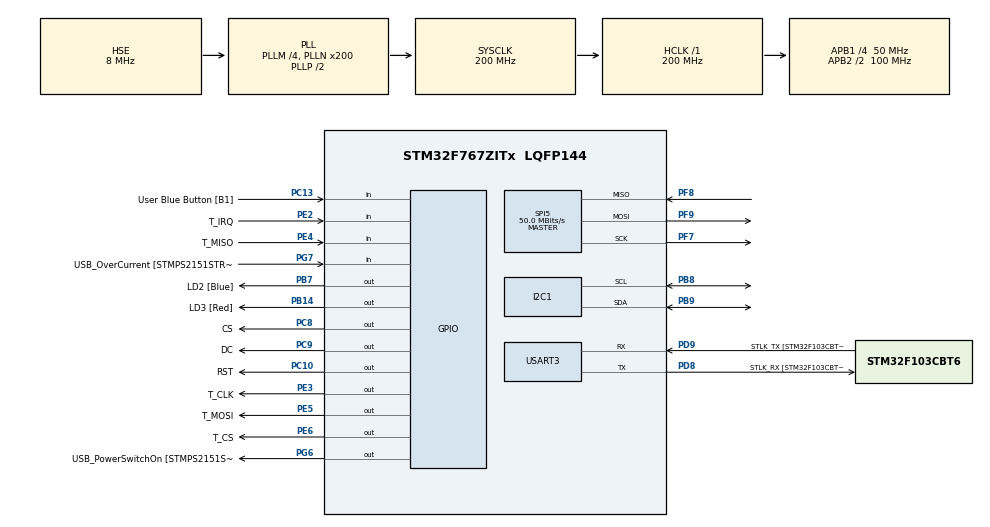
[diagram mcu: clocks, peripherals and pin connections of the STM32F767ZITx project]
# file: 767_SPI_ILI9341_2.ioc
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CORTEX_M7.ART_ACCLERATOR_ENABLE=1
CORTEX_M7.CPU_DCache=Enabled
CORTEX_M7.CPU_ICache=Enabled
CORTEX_M7.PREFETCH_ENABLE=1
I2C1.Timing=0x00C0EAFF
Mcu.Family=STM32F7
Mcu.Name=STM32F767ZITx
Mcu.Package=LQFP144
NVIC.PriorityGroup=NVIC_PRIORITYGROUP_4
PA1.GPIO_Label=RMII_REF_CLK [LAN8742A-CZ-TR_REFCLK0]
PA1.Signal=ETH_REF_CLK
PA13.GPIO_Label=TMS
PA13.Mode=Serial_Wire
PA13.Signal=SYS_JTMS-SWDIO
PA14.GPIO_Label=TCK
PA14.Mode=Serial_Wire
PA14.Signal=SYS_JTCK-SWCLK
PA2.GPIO_Label=RMII_MDIO [LAN8742A-CZ-TR_MDIO]
PA2.Signal=ETH_MDIO
PA7.GPIO_Label=RMII_CRS_DV [LAN8742A-CZ-TR_CRS_DV]
PA7.Signal=ETH_CRS_DV
PB13.GPIO_Label=RMII_TXD1 [LAN8742A-CZ-TR_TXD1]
PB13.Signal=ETH_TXD1
PB14.GPIO_Label=LD3 [Red]
PB14.Signal=GPIO_Output
PB3.GPIO_Label=SWO
PB3.Signal=SYS_JTDO-SWO
PB7.GPIO_Label=LD2 [Blue]
PB7.Signal=GPIO_Output
PB8.Mode=I2C
PB8.Signal=I2C1_SCL
PB9.Mode=I2C
PB9.Signal=I2C1_SDA
PC1.GPIO_Label=RMII_MDC [LAN8742A-CZ-TR_MDC]
PC1.Signal=ETH_MDC
PC10.GPIO_Label=RST
PC10.GPIO_Speed=GPIO_SPEED_FREQ_VERY_HIGH
PC10.Signal=GPIO_Output
PC13.GPIO_Label=User Blue Button [B1]
PC13.Signal=GPIO_Input
PC14/OSC32_IN.Mode=LSE-External-Oscillator
PC14/OSC32_IN.Signal=RCC_OSC32_IN
PC15/OSC32_OUT.Mode=LSE-External-Oscillator
PC15/OSC32_OUT.Signal=RCC_OSC32_OUT
PC4.GPIO_Label=RMII_RXD0 [LAN8742A-CZ-TR_RXD0]
PC4.Signal=ETH_RXD0
PC5.GPIO_Label=RMII_RXD1 [LAN8742A-CZ-TR_RXD1]
PC5.Signal=ETH_RXD1
PC8.GPIO_Label=CS
PC8.GPIO_Speed=GPIO_SPEED_FREQ_VERY_HIGH
PC8.Signal=GPIO_Output
PC9.GPIO_Label=DC
PC9.GPIO_Speed=GPIO_SPEED_FREQ_VERY_HIGH
PC9.Signal=GPIO_Output
PD8.GPIO_Label=STLK_RX [STM32F103CBT6_PA3]
PD8.Mode=Asynchronous
PD8.Signal=USART3_TX
PD9.GPIO_Label=STLK_TX [STM32F103CBT6_PA2]
PD9.Mode=Asynchronous
PD9.Signal=USART3_RX
PE2.GPIO_Label=T_IRQ
PE2.Signal=GPIO_Input
PE3.GPIO_Label=T_CLK
PE3.GPIO_Speed=GPIO_SPEED_FREQ_VERY_HIGH
PE3.Signal=GPIO_Output
PE4.GPIO_Label=T_MISO
PE4.Signal=GPIO_Input
PE5.GPIO_Label=T_MOSI
PE5.GPIO_Speed=GPIO_SPEED_FREQ_VERY_HIGH
PE5.Signal=GPIO_Output
PE6.GPIO_Label=T_CS
PE6.GPIO_Speed=GPIO_SPEED_FREQ_VERY_HIGH
PE6.Signal=GPIO_Output
PF7.Mode=Full_Duplex_Master
PF7.Signal=SPI5_SCK
PF8.Mode=Full_Duplex_Master
PF8.Signal=SPI5_MISO
PF9.Mode=Full_Duplex_Master
PF9.Signal=SPI5_MOSI
PG11.GPIO_Label=RMII_TX_EN [LAN8742A-CZ-TR_TXEN]
PG11.Signal=ETH_TX_EN
PG13.GPIO_Label=RMII_TXD0 [LAN8742A-CZ-TR_TXD0]
PG13.Signal=ETH_TXD0
PG6.GPIO_Label=USB_PowerSwitchOn [STMPS2151STR_EN]
PG6.Signal=GPIO_Output
PG7.GPIO_Label=USB_OverCurrent [STMPS2151STR_FAULT]
PG7.Signal=GPIO_Input
PH0/OSC_IN.GPIO_Label=MCO [STM32F103CBT6_PA8]
PH0/OSC_IN.Mode=HSE-External-Clock-Source
PH0/OSC_IN.Signal=RCC_OSC_IN
PH1/OSC_OUT.Mode=HSE-External-Clock-Source
PH1/OSC_OUT.Signal=RCC_OSC_OUT
ProjectManager.HeapSize=0x200
ProjectManager.StackSize=0x400
ProjectManager.TargetToolchain=STM32CubeIDE
RCC.48MHZClocksFreq_Value=24000000
RCC.AHBFreq_Value=200000000
RCC.APB1CLKDivider=RCC_HCLK_DIV4
RCC.APB1Freq_Value=50000000
RCC.APB1TimFreq_Value=100000000
RCC.APB2CLKDivider=RCC_HCLK_DIV2
RCC.APB2Freq_Value=100000000
RCC.APB2TimFreq_Value=200000000
RCC.CortexFreq_Value=200000000
RCC.HCLKFreq_Value=200000000
RCC.HSE_VALUE=8000000
RCC.HSI_VALUE=16000000
RCC.PLLM=4
RCC.PLLMUL=RCC_PLL_MUL9
RCC.PLLN=200
RCC.PLLQ=9
RCC.PLLSourceVirtual=RCC_PLLSOURCE_HSE
RCC.PRESCALERUSB=RCC_USBCLKSOURCE_PLL_DIV1_5
RCC.SYSCLKFreq_VALUE=200000000
RCC.SYSCLKSource=RCC_SYSCLKSOURCE_PLLCLK
RCC.SYSCLKSourceVirtual=RCC_SYSCLKSOURCE_PLLCLK
RCC.USBFreq_Value=44444444.44444445
RCC.VCOOutputFreq_Value=400000000
SPI5.CalculateBaudRate=50.0 MBits/s
SPI5.DataSize=SPI_DATASIZE_8BIT
SPI5.Direction=SPI_DIRECTION_2LINES
SPI5.Mode=SPI_MODE_MASTER
SPI5.NSSPMode=SPI_NSS_PULSE_DISABLE
SPI5.VirtualType=VM_MASTER
TIM1.ClockDivision=TIM_CLOCKDIVISION_DIV1
TIM1.Period=65536-1
TIM1.Prescaler=20000-1
USART3.VirtualMode-Asynchronous=VM_ASYNC
VP_RNG_VS_RNG.Mode=RNG_Activate
VP_TIM1_VS_ClockSourceINT.Mode=Internal
board=NUCLEO-F767ZI

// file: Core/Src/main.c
/* USER CODE BEGIN Header */
/**
 ******************************************************************************
 * @file           : main.c
 * @brief          : Main program body
 ******************************************************************************
 * @attention
 *
 * <h2><center>&copy; Copyright (c) 2021 STMicroelectronics.
 * All rights reserved.</center></h2>
 *
 * This software component is licensed by ST under BSD 3-Clause license,
 * the "License"; You may not use this file except in compliance with the
 * License. You may obtain a copy of the License at:
 *                        opensource.org/licenses/BSD-3-Clause
 *
 ******************************************************************************
 */
/* USER CODE END Header */
#include "main.h"
#include "gpio.h"
#include "i2c.h"
#include "rng.h"
#include "spi.h"
#include "tim.h"
#include "usart.h"

/* USER CODE BEGIN Includes */
#include "ILI9341_Touchscreen.h"
#include "stdio.h"

#include "ILI9341_GFX.h"
#include "ILI9341_STM32_Driver.h"

#include "snow_tiger.h"
#include <stdint.h>
#include <string.h>

/* USER CODE END Includes */

/* USER CODE BEGIN PD */

#define LIGHT_RED 0b1111110011010011
#define LIGHT_GREEN 0b1001111111110011
#define LIGHT_BLUE 0b1001110011011111

/* USER CODE END PD */

/* USER CODE BEGIN PV */
/* Private variables ---------------------------------------------------------*/

float redSaturation = 0;
float greenSaturation = 0;
float blueSaturation = 0;
uint16_t mixedColor = 0x0000;

uint8_t redValue = 0;
uint8_t greenValue = 0;
uint8_t blueValue = 0;

char temperaturePattern[] = "%.1fC";
char relHumidityPattern[] = "%.1f%%RH";
char saturationPattern[] = "%03d%%";
char temperatureBuffer[32] = "\0";
char relHumidityBuffer[32] = "\0";
char redSaturationBuffer[32] = "\0";
char greenSaturationBuffer[32] = "\0";
char blueSaturationBuffer[32] = "\0";

float h = 30.0, t = 40.0;
uint8_t cmd_buffer[3];
uint8_t data_buffer[8];
char environmentStringBuffer[32] = "\0";

/* USER CODE END PV */

void SystemClock_Config(void);
/* USER CODE BEGIN PFP */
/* Private function prototypes -----------------------------------------------*/

/* USER CODE END PFP */

/* USER CODE BEGIN 0 */
void mixColor() {
  redValue = 0b11111;
  greenValue = 0b111111;
  blueValue = 0b11111;

  redValue = (uint8_t)(redValue * redSaturation);
  greenValue = (uint8_t)(greenValue * greenSaturation);
  blueValue = (uint8_t)(blueValue * blueSaturation);

  mixedColor = (uint16_t)(blueValue);
  mixedColor |= (greenValue << 5);
  mixedColor |= (redValue << 11);
}

uint16_t CRC16_2(uint8_t *ptr, uint8_t length) {
  uint16_t crc = 0xFFFF;
  uint8_t s = 0x00;

  while (length--) {
    crc ^= *ptr++;
    for (s = 0; s < 8; s++) {
      if ((crc & 0x01) != 0) {
        crc >>= 1;
        crc ^= 0xA001;
      } else
        crc >>= 1;
    }
  }

  return crc;
}
/* USER CODE END 0 */

int main(void) {

  /* Enable the CPU Cache */

  /* Enable I-Cache---------------------------------------------------------*/
  SCB_EnableICache();

  /* Enable D-Cache---------------------------------------------------------*/
  SCB_EnableDCache();

  /* MCU Configuration--------------------------------------------------------*/

  /* Reset of all peripherals, Initializes the Flash interface and the Systick.
   */
  HAL_Init();

  /* Configure the system clock */
  SystemClock_Config();

  /* Initialize all configured peripherals */
  MX_GPIO_Init();
  MX_USART3_UART_Init();
  MX_SPI5_Init();
  MX_TIM1_Init();
  MX_RNG_Init();
  MX_I2C1_Init();
  /* USER CODE BEGIN 2 */
  cmd_buffer[0] = 0x03;
  cmd_buffer[1] = 0x00;
  cmd_buffer[2] = 0x04;

  ILI9341_Init(); // initial driver setup to drive ili9341

  ILI9341_Fill_Screen(WHITE);

  ILI9341_Set_Rotation(SCREEN_HORIZONTAL_1);

  ILI9341_Draw_Filled_Circle(120, 48, 24, BLACK);

  ILI9341_Draw_Filled_Circle(32, 112, 20, RED);
  ILI9341_Draw_Filled_Circle(32, 112 + 48, 20, GREEN);
  ILI9341_Draw_Filled_Circle(32, 112 + (48 * 2), 20, BLUE);

  /* USER CODE END 2 */

  /* Infinite loop */
  while (1) {

    /* USER CODE BEGIN 3 */

    //	  HAL_Delay(5000);
    HAL_I2C_Master_Transmit(&hi2c1, 0x5c << 1, cmd_buffer, 3, 200);
    //	  HAL_Delay(5);
    HAL_I2C_Master_Transmit(&hi2c1, 0x5c << 1, cmd_buffer, 3, 200);
    HAL_Delay(5);
    HAL_I2C_Master_Receive(&hi2c1, 0x5c << 1, data_buffer, 8, 200);
    uint16_t Rcrc = data_buffer[7] << 8;
    Rcrc += data_buffer[6];
    if (Rcrc == CRC16_2(data_buffer, 6)) {
      uint16_t temperature = ((data_buffer[4] & 0x7F) << 8) + data_buffer[5];
      t = temperature / 10.0;
      t = (((data_buffer[4] & 0x80) >> 7) == 1) ? (t * (-1)) : t;
      uint16_t humidity = (data_buffer[2] << 8) + data_buffer[3];
      h = humidity / 10.0;
    }

    sprintf(environmentStringBuffer,
            "Temperature = %4.1f\tHumidity = %4.1f\n\r", t, h);
    HAL_UART_Transmit(&huart3, (uint8_t *)environmentStringBuffer,
                      strlen(environmentStringBuffer), 200);
    sprintf(environmentStringBuffer, "raw data: ");
    for (int i = 0; i < 8; i++) {
      char byteStr[6];
      sprintf(byteStr, "%02X ", data_buffer[i]);
      strcat(environmentStringBuffer, byteStr);
    }
    strcat(environmentStringBuffer, "\n\r");
    HAL_UART_Transmit(&huart3, (uint8_t *)environmentStringBuffer,
                      strlen(environmentStringBuffer), 200);

    ILI9341_Set_Rotation(SCREEN_VERTICAL_1);
    if (TP_Touchpad_Pressed()) {
      uint16_t posX = 0;
      uint16_t posY = 0;
      uint16_t position_array[2];
      if (TP_Read_Coordinates(position_array) == TOUCHPAD_DATA_OK) {
        posX = position_array[0];
        posY = position_array[1];

        // ILI9341_Set_Rotation(SCREEN_HORIZONTAL_1);
        // char counter_buff[30];
        // sprintf(counter_buff, "POS X: %.3d", posX);
        // ILI9341_Draw_Text(counter_buff, 10, 0, BLACK, 2, WHITE);
        // sprintf(counter_buff, "POS Y: %.3d", posY);
        // ILI9341_Draw_Text(counter_buff, 10, 16, BLACK, 2, WHITE);
        // ILI9341_Set_Rotation(SCREEN_VERTICAL_1);

        if ((posX >= 12 && posX <= 52) && (posY >= 16 && posY <= 56)) {
          blueSaturation += 0.1;
        }
        if ((posX >= 60 && posX <= 100) && (posY >= 16 && posY <= 56)) {
          greenSaturation += 0.1;
        }
        if ((posX >= 110 && posX <= 150) && (posY >= 16 && posY <= 56)) {
          redSaturation += 0.1;
        }
      }
    }
    ILI9341_Set_Rotation(SCREEN_HORIZONTAL_1);

    if (redSaturation > 1.01)
      redSaturation = 0;
    if (greenSaturation > 1.01)
      greenSaturation = 0;
    if (blueSaturation > 1.01)
      blueSaturation = 0;

    sprintf(temperatureBuffer, temperaturePattern, (float)t);
    sprintf(relHumidityBuffer, relHumidityPattern, (float)h);
    sprintf(redSaturationBuffer, saturationPattern,
            (uint8_t)(redSaturation * 100));
    sprintf(greenSaturationBuffer, saturationPattern,
            (uint8_t)(greenSaturation * 100));
    sprintf(blueSaturationBuffer, saturationPattern,
            (uint8_t)(blueSaturation * 100));

    ILI9341_Draw_Filled_Circle(120, 48, 24, mixedColor);

    ILI9341_Draw_Rectangle(64, 92, 100, 40, LIGHT_RED);
    ILI9341_Draw_Rectangle(64, 92, (uint16_t)(100 * redSaturation), 40, RED);
    ILI9341_Draw_Rectangle(64, 140, 100, 40, LIGHT_GREEN);
    ILI9341_Draw_Rectangle(64, 140, (uint16_t)(100 * greenSaturation), 40,
                           GREEN);
    ILI9341_Draw_Rectangle(64, 188, 100, 40, LIGHT_BLUE);
    ILI9341_Draw_Rectangle(64, 188, (uint16_t)(100 * blueSaturation), 40, BLUE);

    ILI9341_Draw_Text(temperatureBuffer, 16, 40, BLACK, 2, WHITE);
    ILI9341_Draw_Text(relHumidityBuffer, 160, 40, BLACK, 2, WHITE);
    ILI9341_Draw_Text(redSaturationBuffer, 180, 100, BLACK, 2, WHITE);
    ILI9341_Draw_Text(greenSaturationBuffer, 180, 148, BLACK, 2, WHITE);
    ILI9341_Draw_Text(blueSaturationBuffer, 180, 196, BLACK, 2, WHITE);

    mixColor();

    HAL_Delay(200);
  }
  /* USER CODE END 3 */
}

void SystemClock_Config(void) {
  RCC_OscInitTypeDef RCC_OscInitStruct = {0};
  RCC_ClkInitTypeDef RCC_ClkInitStruct = {0};

  /** Configure LSE Drive Capability
   */
  HAL_PWR_EnableBkUpAccess();

  /** Configure the main internal regulator output voltage
   */
  __HAL_RCC_PWR_CLK_ENABLE();
  __HAL_PWR_VOLTAGESCALING_CONFIG(PWR_REGULATOR_VOLTAGE_SCALE1);

  /** Initializes the RCC Oscillators according to the specified parameters
   * in the RCC_OscInitTypeDef structure.
   */
  RCC_OscInitStruct.OscillatorType = RCC_OSCILLATORTYPE_HSE;
  RCC_OscInitStruct.HSEState = RCC_HSE_BYPASS;
  RCC_OscInitStruct.PLL.PLLState = RCC_PLL_ON;
  RCC_OscInitStruct.PLL.PLLSource = RCC_PLLSOURCE_HSE;
  RCC_OscInitStruct.PLL.PLLM = 4;
  RCC_OscInitStruct.PLL.PLLN = 200;
  RCC_OscInitStruct.PLL.PLLP = RCC_PLLP_DIV2;
  RCC_OscInitStruct.PLL.PLLQ = 9;
  RCC_OscInitStruct.PLL.PLLR = 2;
  if (HAL_RCC_OscConfig(&RCC_OscInitStruct) != HAL_OK) {
    Error_Handler();
  }

  /** Activate the Over-Drive mode
   */
  if (HAL_PWREx_EnableOverDrive() != HAL_OK) {
    Error_Handler();
  }

  /** Initializes the CPU, AHB and APB buses clocks
   */
  RCC_ClkInitStruct.ClockType = RCC_CLOCKTYPE_HCLK | RCC_CLOCKTYPE_SYSCLK |
                                RCC_CLOCKTYPE_PCLK1 | RCC_CLOCKTYPE_PCLK2;
  RCC_ClkInitStruct.SYSCLKSource = RCC_SYSCLKSOURCE_PLLCLK;
  RCC_ClkInitStruct.AHBCLKDivider = RCC_SYSCLK_DIV1;
  RCC_ClkInitStruct.APB1CLKDivider = RCC_HCLK_DIV4;
  RCC_ClkInitStruct.APB2CLKDivider = RCC_HCLK_DIV2;

  if (HAL_RCC_ClockConfig(&RCC_ClkInitStruct, FLASH_LATENCY_6) != HAL_OK) {
    Error_Handler();
  }
}

void Error_Handler(void) {
  while (1) {
  }
}
#ifdef USE_FULL_ASSERT
/**
 * @brief  Reports the name of the source file and the source line number
 *         where the assert_param error has occurred.
 * @param  file: pointer to the source file name
 * @param  line: assert_param error line source number
 * @retval None
 */
void assert_failed(uint8_t *file, uint32_t line) {
  /* USER CODE BEGIN 6 */
  /* User can add his own implementation to report the file name and line
     number, tex: printf("Wrong parameters value: file %s on line %d\r\n", file,
     line) */
  /* USER CODE END 6 */
}
#endif /* USE_FULL_ASSERT */
